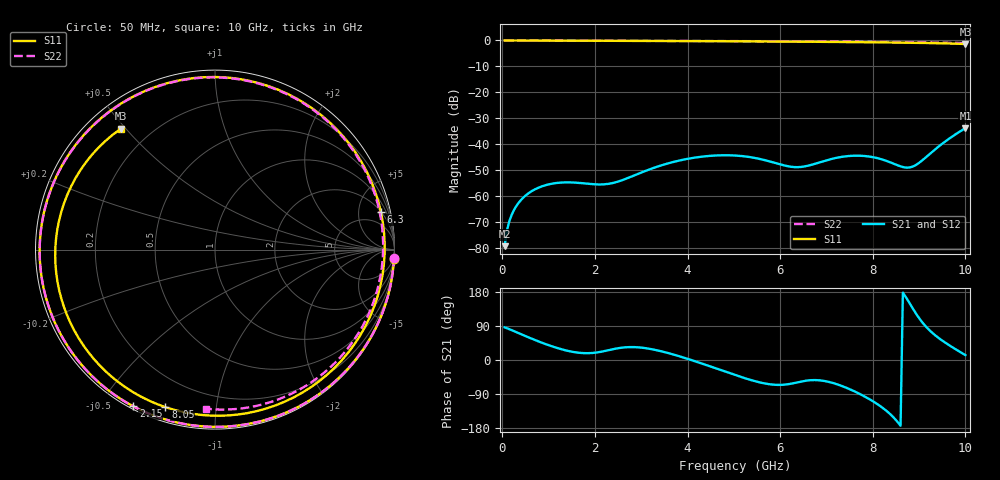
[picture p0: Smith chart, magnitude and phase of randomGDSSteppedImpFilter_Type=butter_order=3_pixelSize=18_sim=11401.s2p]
! freq	dB(S11)	phase(S11)	dB(S12)	phase(S12)
!  dB(S21)	phase(S21)	dB(S22)	phase(S22)
!S-par simulation data
#  GHz  S  DB  R 50
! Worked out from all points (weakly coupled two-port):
!   200 points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, 50 MHz to 10 GHz, reference 50 ohm
!   highest |S21| = -33.73 dB at 10 GHz (marker M1); lowest = -79.1 dB at 50 MHz (marker M2)
!   lowest |S11| = -1.4 dB at 10 GHz (marker M3), VSWR 12.64, Z = 4.89 + j24.3 ohm
!   |S11| at or under -10 dB: nowhere
!   |S22| runs from -1.0 to 0.0 dB; largest |S21 - S12| = 0
!   S11 on the Smith chart (normalised r, x): 50 MHz: 1, -38; 2.15 GHz: 0.01, -0.61; 6.3 GHz: 2.04, +8.43; 8.05 GHz: 0.06, -0.73; 10 GHz: 0.10, +0.49
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0.05  -0.01 -3.0  -79.13 86.1  -79.13 86.1  -0.01 -2.6
0.1  -0.02 -5.9  -73.14 84.0  -73.14 84.0  -0.01 -5.2
0.2  -0.02 -11.9  -67.19 78.9  -67.19 78.9  -0.02 -10.3
0.5  -0.03 -29.5  -59.70 63.1  -59.70 63.1  -0.03 -25.6
1.15  -0.08 -66.1  -54.88 33.0  -54.88 33.0  -0.07 -57.5
1.75  -0.12 -97.7  -54.95 18.2  -54.95 18.2  -0.10 -85.0
2.15  -0.13 -117.5  -55.39 22.1  -55.39 22.1  -0.12 -102.1
2.8  -0.16 -148.5  -52.28 34.1  -52.28 34.1  -0.14 -128.2
3.4  -0.20 -176.7  -48.24 24.0  -48.24 24.0  -0.17 -150.9
4.2  -0.25 144.1  -44.96 -4.9  -44.96 -4.9  -0.20 179.8
4.65  -0.29 120.0  -44.22 -23.7  -44.22 -23.7  -0.23 163.2
5.05  -0.33 96.8  -44.29 -40.5  -44.29 -40.5  -0.25 148.1
5.65  -0.39 58.5  -45.96 -61.5  -45.96 -61.5  -0.30 124.4
6.3  -0.47 12.8  -48.70 -61.0  -48.70 -61.0  -0.35 96.7
6.7  -0.51 -16.1  -47.72 -53.0  -47.72 -53.0  -0.38 78.4
7.4  -0.61 -65.3  -44.61 -71.8  -44.61 -71.8  -0.45 44.0
8.05  -0.72 -107.5  -45.06 -112.5  -45.06 -112.5  -0.54 10.1
8.35  -0.78 -126.0  -46.69 -139.9  -46.69 -139.9  -0.59 -6.0
8.8  -0.89 -153.3  -48.84 148.9  -48.84 148.9  -0.68 -30.1
9.2  -1.00 -177.8  -44.12 81.5  -44.12 81.5  -0.77 -51.4
9.6  -1.15 156.4  -38.40 42.9  -38.40 42.9  -0.89 -72.5
10  -1.38 127.8  -33.73 12.8  -33.73 12.8  -1.03 -93.3
